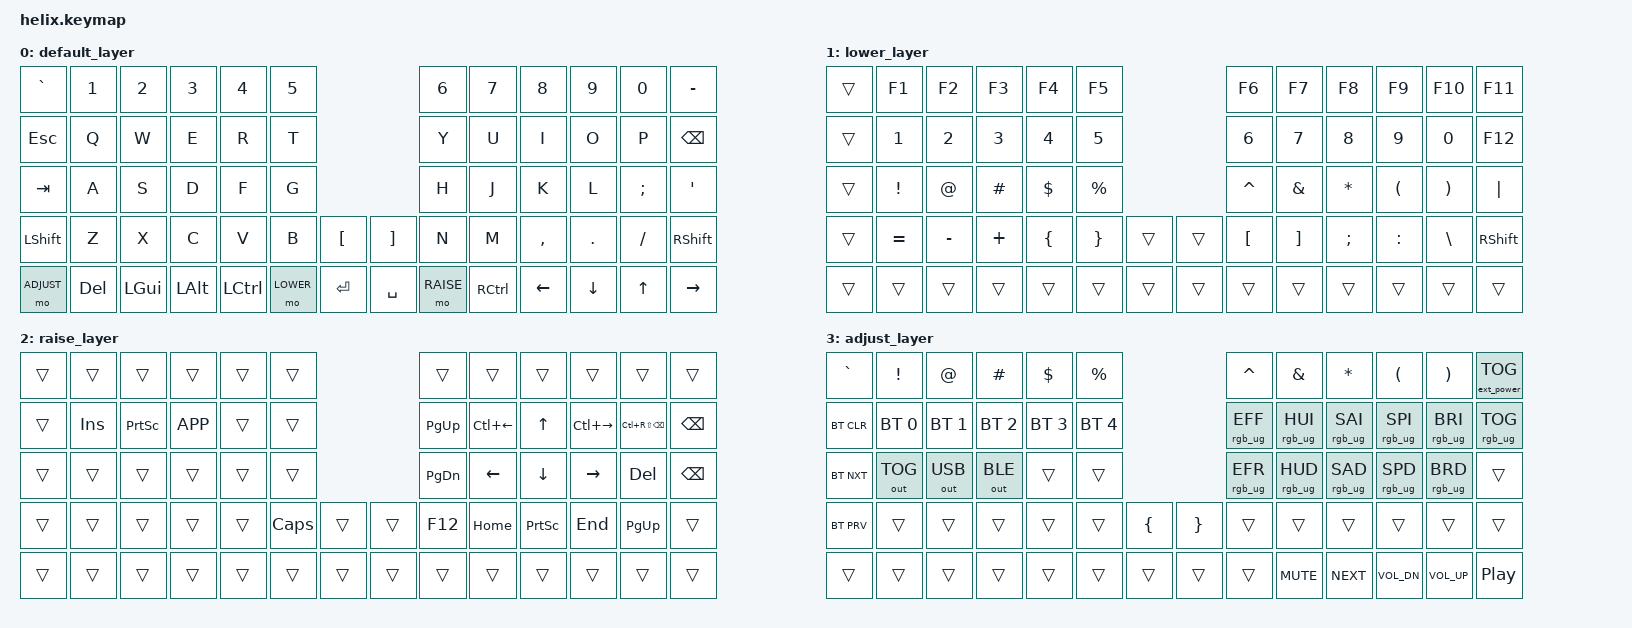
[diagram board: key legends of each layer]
/*
 * Copyright (c) 2020 The ZMK Contributors
 *
 * SPDX-License-Identifier: MIT
 */

 #include <behaviors.dtsi>
 #include <dt-bindings/zmk/keys.h>
 #include <dt-bindings/zmk/bt.h>
 #include <dt-bindings/zmk/rgb.h>
 #include <dt-bindings/zmk/ext_power.h>
 #include <dt-bindings/zmk/outputs.h>

 #define DEFAULT 0
 #define LOWER  1
 #define RAISE  2
 #define ADJUST 3


/* NOTE: At the time of the creation of this keymap, there are no specified codes for 'eisuu' and 'kana' input in ZMK.
However, 'LANG1' and 'LANG2' are fully-functioning candidates for 'kana' and 'eisuu' input respectively.
As such, those are in use within the default layer at this time.*/

/ {
       keymap {
              compatible = "zmk,keymap";
 
              default_layer {
 // ---------------------------------------------------------------------------------------------------------------------------------
 // | GRAVE  |   1    |   2    |   3    |   4    |   5    |                                      |   6    |   7    |   8    |   9    |   0    |  -   |
 // |  ESC   |   Q    |   W    |   E    |   R    |   T    |                                      |   Y    |   U    |   I    |   O    |   P    |  BSPC  |
 // |  TAB  |   A    |   S    |   D    |   F     |   G    |                                      |   H    |   J    |   K    |   L    |   ;    |   '    |
 // |  SHIFT |   Z    |   X    |   C    |   V    |   B    |  LBKT  |                    |  RBKT  |   N    |   M    |   ,    |   .    |   /    |  SHIFT   |
 // | ADJUST |  DEL   |  LGUI   |  ALT  | LCTRL  | LOWER  | ENTER  |                    |  SPACE | RAISE  |  RCTRL  |  LEFT  |  DOWN  |  UP    |  RIGHT |
                     bindings = <
       &kp GRAVE  &kp N1  &kp N2   &kp N3   &kp N4    &kp N5                               &kp N6    &kp N7    &kp N8    &kp N9     &kp N0    &kp MINUS
       &kp ESC    &kp Q   &kp W    &kp E    &kp R     &kp T                                &kp Y     &kp U     &kp I     &kp O      &kp P     &kp BSPC
       &kp TAB  &kp A   &kp S    &kp D    &kp F     &kp G                                &kp H     &kp J     &kp K     &kp L      &kp SEMI  &kp SQT
       &kp LSHFT  &kp Z   &kp X    &kp C    &kp V     &kp B     &kp LBKT         &kp RBKT  &kp N     &kp M     &kp COMMA &kp PERIOD &kp SLASH &kp RSHIFT
       &mo ADJUST &kp DEL &kp LGUI &kp LALT &kp LCTRL &mo LOWER &kp RET        &kp SPACE &mo RAISE &kp RCTRL &kp LEFT  &kp DOWN   &kp UP    &kp RIGHT
                     >;
              };
              lower_layer {
 // ---------------------------------------------------------------------------------------------------------------------------------
 // |      |  F1  |  F2  |  F3  |  F4  |  F5  |                                  |  F6  |  F7  |  F8  |  F9  |  F10 |  F11 |
 // |      |   1  |   2  |   3  |   4  |   5  |                                  |   6  |   7  |   8  |   9  |   0  |  F12 |
 // |      |  !   |  @   |  #   |  $   |  %   |                                  |   ^  |   &  |   *  |   (  |   )  |   |  |
 // |      |   =  |   -  |   +  |   {  |  }   | LBKT |                    | RBKT |   [  |   ]  |   ;  |   :  |   \  |RSHIFT|
 // |      |      |      |      |      |      |      |                    |      |      |      |      |      |      |      |
                     bindings = <
       &trans    &kp F1   &kp F2 &kp F3   &kp F4   &kp F5                             &kp F6    &kp F7    &kp F8    &kp F9   &kp F10  &kp F11
       &trans    &kp N1   &kp N2 &kp N3   &kp N4   &kp N5                             &kp N6    &kp N7    &kp N8    &kp N9   &kp N0   &kp F12
       &trans    &kp EXCL &kp AT &kp HASH &kp DLLR &kp PRCNT                          &kp CARET &kp AMPS  &kp ASTRK &kp LPAR &kp RPAR &kp PIPE
       &trans    &kp EQUAL &kp MINUS &kp PLUS &kp LBRC &kp RBRC &trans       &trans   &kp LBKT  &kp RBKT  &kp SEMI  &kp COLON &kp BSLH &kp RSHIFT
       &trans    &trans   &trans &trans   &trans   &trans    &trans          &trans   &trans    &trans    &trans    &trans   &trans   &trans
                     >;
              };
              raise_layer {
 // ---------------------------------------------------------------------------------------------------------------------------------
 // |       |       |       |       |       |       |                                    |       |       |       |       |       |       |
 // |       |   INS |  PSCR | MENU  |       |       |                                    | PG_UP | PVWD  |   UP  | NWRD  | DLine |  BSPC |
 // |       |       |       |       |       |       |                                    | PG_DWN| LEFT  |  DOWN | RIGHT |  DEL  |   BSPC|
 // |       |       |       |       |       |  CAPS |       |                    |       |  F12  | HOME  | PSCRN | END   | PG_UP |       |
 // |       |       |       |       |       |       |       |                    |       |       |       |       |       |       |       |
                     bindings = <
       &trans    &trans &trans &trans &trans  &trans                       &trans  &trans    &trans     &trans       &trans       &trans
       &trans    &kp INS &kp PSCRN &kp K_APP &trans  &trans             &kp PG_UP  &kp LC(LEFT) &kp UP  &kp LC(RIGHT) &kp LC(RS(BSPC)) &kp BSPC
       &trans    &trans &trans &trans &trans  &trans                       &kp PG_DN  &kp LEFT  &kp DOWN   &kp RIGHT    &kp DEL    &kp BSPC
       &trans    &trans &trans &trans &trans  &kp CAPS &trans        &trans &kp F12 &kp HOME  &kp PSCRN  &kp END &kp PG_UP &trans
       &trans    &trans &trans &trans &trans  &trans  &trans        &trans   &trans    &trans    &trans    &trans   &trans   &trans
                
                     >;
              };
              adjust_layer {
 // ---------------------------------------------------------------------------------------------------------------------------------
 // |    `     |    !     |    @     |    #     |    $     |    %     |                                          |    ^     |    &     |    *     |    (     |    )     |  EP TOG  |
 // |  BT CLR  | BT SEL0  | BT SEL1  | BT SEL2  | BGT SEL3 | BT SEL4  |                                          | RGB EFF+ | RGB HUE+ | RGB SAT+ | RGB SPD+ | RGB BRI+ | RGB TOG  |
 // |  BT NXT  | OUT TOG  | OUT USB  | OUT BLE  |          |          |                                          | RGB EFF- | RGB HUE- | RGB SAT- | RGB SPD- | RGB BRI- |          |
 // |  BT PRV  |          |          |          |          |          |    {     |                    |    }     |          |          |          |          |          |          |
 // |          |          |          |          |          |          |          |                    |          |          |   MUTE   | NEXT     | VOL-     | VOL+     | PLAY     |
                     bindings = <
       &kp GRAVE  &kp EXCL     &kp AT       &kp HASH     &kp DLLR     &kp PRCNT                             &kp CARET       &kp AMPS        &kp ASTRK       &kp LPAR        &kp RPAR        &ext_power EP_TOG
       &bt BT_CLR &bt BT_SEL 0 &bt BT_SEL 1 &bt BT_SEL 2 &bt BT_SEL 3 &bt BT_SEL 4                          &rgb_ug RGB_EFF &rgb_ug RGB_HUI &rgb_ug RGB_SAI &rgb_ug RGB_SPI &rgb_ug RGB_BRI &rgb_ug RGB_TOG 
       &bt BT_NXT &out OUT_TOG &out OUT_USB &out OUT_BLE &trans       &trans                                &rgb_ug RGB_EFR &rgb_ug RGB_HUD &rgb_ug RGB_SAD &rgb_ug RGB_SPD &rgb_ug RGB_BRD &trans
       &bt BT_PRV &trans       &trans       &trans       &trans       &trans       &kp LBRC        &kp RBRC &trans          &trans          &trans          &trans          &trans          &trans
       &trans     &trans       &trans       &trans       &trans       &trans       &trans          &trans &trans  &kp C_MUTE    &kp C_NEXT &kp C_VOL_DN &kp C_VOL_UP &kp C_PP
                     >;
              };
       };
};
